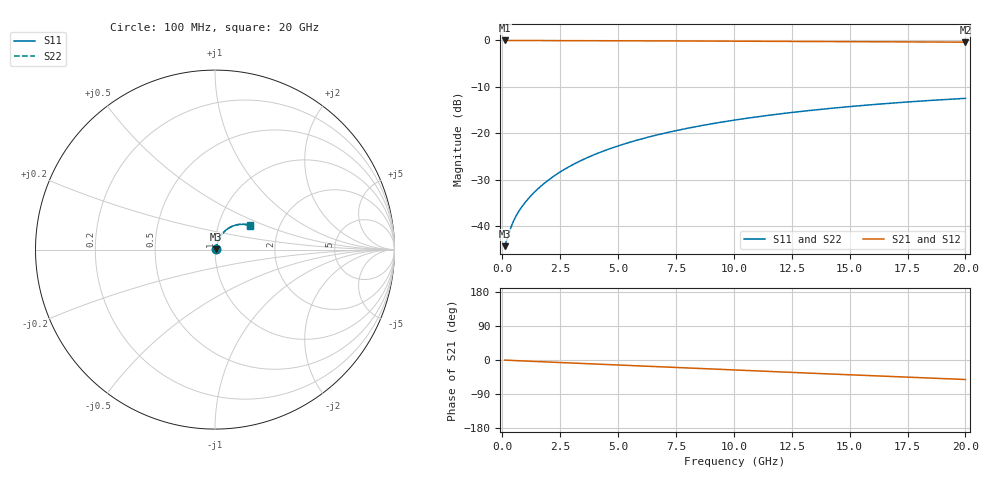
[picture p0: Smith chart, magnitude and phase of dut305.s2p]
! Touchstone file exported from HFSS 2026.1.0
!  File:  C:/ffzhzh/LocalFiles/Ansys_Project_Files/temp_train_BSMRDL_305_1783010545_4048.aedt
!  Generated:  12:43:49 AM Jul  3, 2026
!  Design:  BSMRDL
!  Project:  temp_train_BSMRDL_305_1783010545_4048
! Variables:
!  h_bsmrdl = 2.32um
!  h_ox = 20um
!  h_rdl = 5um
!  h_sub = 80um
!  h_tmrdl = 5um
!  h_tsv = 80um
!  h_via = 3um
!  l_bsmrdl = 873.81um
!  l_sub = 1273.81um
!  l_tmrdl = 200um
!  m_sub = 200um
!  pitch = 33.76um
!  r_tsv = 6um
!  s_tmrdl = 10um
!  w_bsmrdl = 24.41um
!  w_sub = 500um
!  w_tmrdl = 12um
!  x_tsv_center1 = 206um
!  x_tsv_center2 = 1104.22um
!  x_tsv_center3 = 1316.22um
!  x_tsv_center4 = 2214.44um
!  x_tsv_center5 = 2426.44um
!  x_tsv_center6 = 3324.66um
# GHz S MA R 50.000000
! Terminal data exported
! Port[1] = BSM_RDL1_1_T1
! Port[2] = BSM_RDL1_1_T2
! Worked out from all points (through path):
!   200 points, 100 MHz to 20 GHz, reference 50 ohm
!   highest |S21| = -0.05 dB at 100 MHz (marker M1); lowest = -0.4 dB at 20 GHz (marker M2)
!   group delay of S21, straight-line fit = 7.14 ps
!   lowest |S11| = -44.3 dB at 100 MHz (marker M3), VSWR 1.01, Z = 50.6 + j0.206 ohm
!   |S11| at or under -10 dB: start of sweep to end of sweep
!   |S22| runs from -44.3 to -12.5 dB; largest |S21 - S12| = 3.5e-15
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0.1  0.006113 19.5  0.9942 -0.3  0.9942 -0.3  0.006113 19.5
! Gamma 0 0 0 0
! Port Impedance 50 0 50 0
0.3  0.008678 41.6  0.9936 -0.9  0.9936 -0.9  0.008678 41.6
0.4  0.01015 46.8  0.9932 -1.2  0.9932 -1.2  0.01015 46.8
0.5  0.01159 50.3  0.9928 -1.4  0.9928 -1.4  0.01158 50.3
0.6  0.01297 53.0  0.9924 -1.7  0.9924 -1.7  0.01297 53.0
0.7  0.01431 55.1  0.9922 -2.0  0.9922 -2.0  0.01431 55.1
0.9  0.01692 58.5  0.9917 -2.5  0.9917 -2.5  0.01692 58.5
1.2  0.02082 62.3  0.9912 -3.3  0.9912 -3.3  0.02081 62.3
1.7  0.02744 66.3  0.9907 -4.6  0.9907 -4.6  0.02744 66.3
2.2  0.03424 68.5  0.9903 -5.9  0.9903 -5.9  0.03424 68.5
2.8  0.04253 69.6  0.9897 -7.5  0.9897 -7.5  0.04253 69.7
3.5  0.05228 69.9  0.989 -9.4  0.989 -9.4  0.05227 70.0
4.2  0.06202 69.5  0.9881 -11.2  0.9881 -11.2  0.06202 69.6
5  0.07308 68.5  0.987 -13.3  0.987 -13.3  0.07307 68.6
5.9  0.08537 67.0  0.9856 -15.7  0.9856 -15.7  0.08536 67.1
6.8  0.09744 65.3  0.984 -18.0  0.984 -18.0  0.09743 65.4
8.3  0.117 62.1  0.981 -21.9  0.981 -21.9  0.117 62.2
10.1  0.1394 58.0  0.9771 -26.6  0.9771 -26.6  0.1394 58.1
11.7  0.1582 54.2  0.9733 -30.7  0.9733 -30.7  0.1582 54.4
13.4  0.177 50.1  0.9691 -35.0  0.9691 -35.0  0.177 50.3
16.7  0.2097 42.2  0.961 -43.3  0.961 -43.3  0.2097 42.5
20  0.2372 34.3  0.9533 -51.5  0.9533 -51.5  0.2371 34.7
